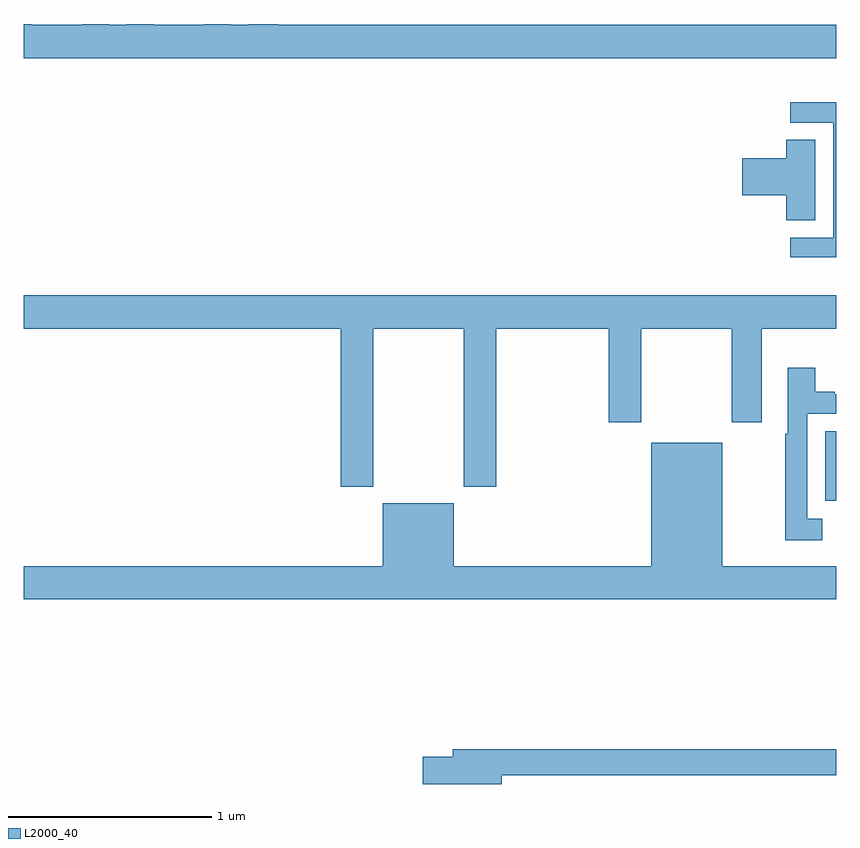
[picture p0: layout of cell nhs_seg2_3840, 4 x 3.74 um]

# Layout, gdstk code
import gdstk
lib = gdstk.Library(unit=1e-6, precision=1e-09)
def R(c, l, rs):  # rectangles x0, y0, x1, y1
    for r in rs: c.add(gdstk.rectangle(r[:2], r[2:], *l))
def P(c, l, *ps):  # polygons
    for p in ps: c.add(gdstk.Polygon(p, *l))
L2000_40 = (2000, 40)

nhs_seg2_3840 = lib.new_cell('nhs_seg2_3840')
R(nhs_seg2_3840, L2000_40, [(316.946,649.453,317,649.796)])
P(nhs_seg2_3840, L2000_40, [(317,651.796),(314.252,651.796),(314.252,651.8),(314.108,651.8),(314.108,651.796),(314.02,651.796),(314.02,651.8),(313.889,651.8),(313.889,651.796),(313.639,651.796),(313.639,651.8),(313.508,651.8),(313.508,651.796),(313.42,651.796),(313.42,651.8),(313.289,651.8),(313.289,651.796),(313.039,651.796),(313.039,651.8),(313,651.8),(313,651.632),(317,651.632)],
  [(317,651.414),(316.773,651.414),(316.773,651.315),(316.986,651.315),(316.986,650.748),(316.773,650.748),(316.773,650.652),(317,650.652)],
  [(316.897,651.23),(316.754,651.23),(316.754,651.14),(316.536,651.14),(316.536,650.957),(316.754,650.957),(316.754,650.833),(316.897,650.833)],
  [(314.721,650.3),(315.166,650.3),(315.166,649.521),(315.326,649.521),(315.326,650.3),(315.881,650.3),(315.881,649.839),(316.041,649.839),(316.041,650.3),(316.486,650.3),(316.486,649.839),(316.633,649.839),(316.633,650.3),(317,650.3),(317,650.464),(313,650.464),(313,650.3),(314.561,650.3),(314.561,649.521),(314.721,649.521)],
  [(316.93,649.365),(316.857,649.365),(316.857,649.881),(317,649.881),(317,649.977),(316.993,649.977),(316.993,649.99),(316.897,649.99),(316.897,650.107),(316.761,650.107),(316.761,649.784),(316.749,649.784),(316.749,649.26),(316.93,649.26)],
  [(317,649.132),(316.438,649.132),(316.438,649.738),(316.088,649.738),(316.088,649.132),(315.118,649.132),(315.118,649.441),(314.768,649.441),(314.768,649.132),(313,649.132),(313,648.968),(317,648.968)],
  [(315.352,648.102),(317,648.102),(317,648.23),(315.113,648.23),(315.113,648.194),(314.964,648.194),(314.964,648.059),(315.352,648.059)])

lib.write_gds('nhs_seg2_3840.gds')
